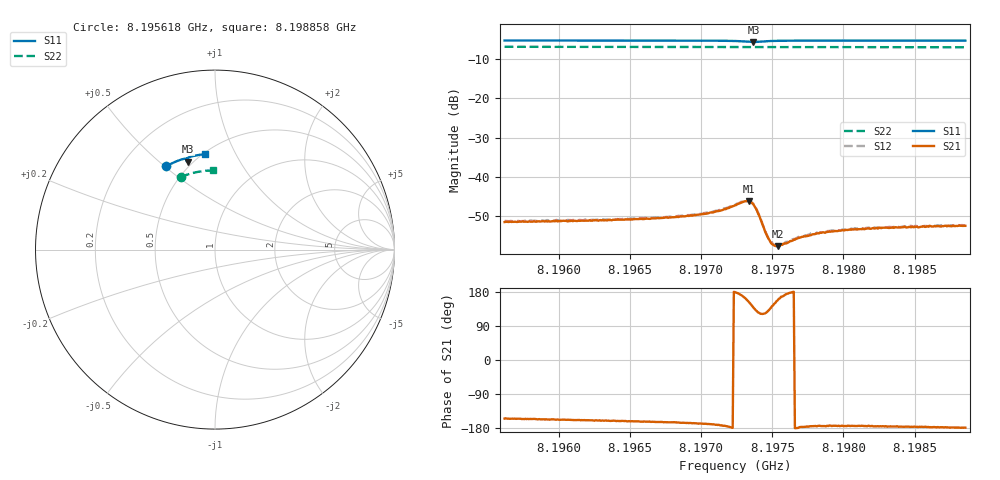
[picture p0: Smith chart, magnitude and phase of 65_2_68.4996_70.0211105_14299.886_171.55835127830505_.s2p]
#  HZ  S  RI  R  50.00
! Rohde & Schwarz Vector Network Analyzer
! Rohde-Schwarz,ZNB20-2Port,1311601062101988,3.16
! Created: UTC 3/20/2024, 4:51:24 PM
! freq[Hz]  re:S11  im:S11  re:S21  im:S21  re:S12  im:S12  re:S22  im:S22
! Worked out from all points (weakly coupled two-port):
!   401 points, 8.195618 GHz to 8.198858 GHz, reference 50 ohm
!   highest |S21| = -46.12 dB at 8.197335 GHz (marker M1); lowest = -57.6 dB at 8.197538 GHz (marker M2)
!   lowest |S11| = -5.8 dB at 8.197368 GHz (marker M3), VSWR 3.11, Z = 23.5 + j31.3 ohm
!   |S11| at or under -10 dB: nowhere
!   |S22| runs from -7.1 to -7.0 dB; largest |S21 - S12| = 0.00025
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8.1956185e9  -0.2708 0.4644  -0.00242 -0.00115  -0.00254 -0.0011  -0.189 0.4046
8.196161e9  -0.2364 0.4823  -0.0026 -0.00102  -0.00267 -0.000945  -0.1606 0.4155
8.1967036e9  -0.1999 0.4978  -0.00288 -0.000838  -0.00297 -0.000754  -0.1316 0.4247
8.1969303e9  -0.1835 0.5032  -0.00317 -0.000756  -0.00324 -0.000637  -0.1192 0.4279
8.1970356e9  -0.1752 0.5054  -0.00336 -0.000688  -0.00347 -0.000556  -0.1135 0.4294
8.1971408e9  -0.1657 0.5069  -0.00373 -0.000494  -0.00384 -0.000347  -0.1077 0.4306
8.197238e9  -0.1553 0.5059  -0.00438 7.03e-05  -0.00442 0.00025  -0.1022 0.4318
8.1973028e9  -0.1487 0.5001  -0.00472 0.00123  -0.00475 0.00148  -0.0986 0.4321
8.1973352e9  -0.1482 0.4948  -0.00442 0.00222  -0.00438 0.00245  -0.097 0.4323
8.1973514e9  -0.1498 0.4922  -0.00395 0.00265  -0.00391 0.0029  -0.0961 0.4325
8.1973676e9  -0.1525 0.4906  -0.00335 0.00297  -0.00327 0.00318  -0.0952 0.4326
8.1974e9  -0.1584 0.4919  -0.00201 0.00281  -0.00195 0.00297  -0.0938 0.433
8.1974566e9  -0.1605 0.5006  -0.00108 0.00156  -0.00105 0.00162  -0.0907 0.4339
8.1974809e9  -0.1591 0.5038  -0.00108 0.00114  -0.00103 0.00118  -0.0893 0.4341
8.1975052e9  -0.1575 0.5064  -0.00112 0.000813  -0.0011 0.00085  -0.088 0.4344
8.1975376e9  -0.1547 0.5088  -0.00122 0.00051  -0.00122 0.000552  -0.0862 0.4346
8.1976915e9  -0.1415 0.5156  -0.00169 -8.74e-05  -0.00172 2.2e-05  -0.0776 0.4363
8.1977805e9  -0.1346 0.5179  -0.00185 -0.000177  -0.00194 -0.000108  -0.0726 0.4369
8.1978453e9  -0.1295 0.5192  -0.00195 -0.000191  -0.00196 -0.000118  -0.069 0.4375
8.1980316e9  -0.1157 0.5227  -0.00211 -0.000247  -0.00217 -0.000142  -0.0585 0.4386
8.1983231e9  -0.0947 0.5266  -0.00225 -0.000163  -0.00233 -0.000121  -0.0423 0.44
8.1988575e9  -0.0566 0.5318  -0.0024 -5.83e-05  -0.00245 6.23e-05  -0.0119 0.4408
